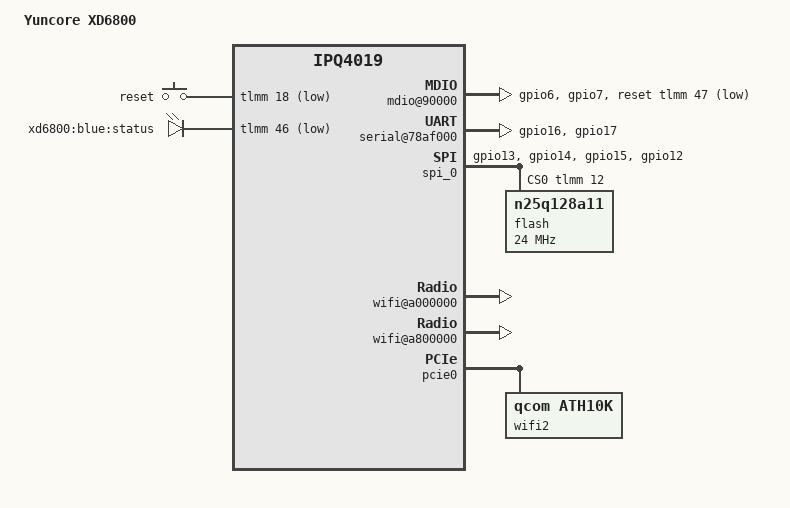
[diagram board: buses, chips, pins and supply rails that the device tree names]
#include "qcom-ipq4019.dtsi"
#include <dt-bindings/gpio/gpio.h>
#include <dt-bindings/input/input.h>

/ {
	model = "Yuncore XD6800";
	compatible = "yuncore,xd6800", "qcom,ipq4019";

	soc {
		mdio@90000 {
			pinctrl-0 = <&mdio_pins>;
			pinctrl-names = "default";
			reset-gpios = <&tlmm 47 GPIO_ACTIVE_LOW>;
			status = "okay";
		};

		ess-psgmii@98000 {
			status = "okay";
		};

		pinctrl@1000000 {
			mdio_pins: mdio_pinmux {
				mux_1 {
					pins = "gpio6";
					function = "mdio";
					bias-pull-up;
				};

				mux_2 {
					pins = "gpio7";
					function = "mdc";
					bias-pull-up;
				};
			};

			serial_0_pins: serial_pinmux {
				mux {
					pins = "gpio16", "gpio17";
					function = "blsp_uart0";
					bias-disable;
				};
			};

			spi_0_pins: spi_0_pinmux {
				pinmux {
					pins = "gpio13", "gpio14", "gpio15";
					function = "blsp_spi0";
					drive-strength = <12>;
					bias-disable;
				};

				pinmux_cs {
					pins = "gpio12";
					function = "gpio";
					drive-strength = <2>;
					bias-disable;
					output-high;
				};
			};
		};

		blsp_dma: dma@7884000 {
			status = "okay";
		};

		serial@78af000 {
			pinctrl-0 = <&serial_0_pins>;
			pinctrl-names = "default";
			status = "okay";
		};

		spi_0: spi@78b5000 {
			pinctrl-0 = <&spi_0_pins>;
			pinctrl-names = "default";
			status = "okay";
			cs-gpios = <&tlmm 12 GPIO_ACTIVE_HIGH>;

			flash@0 {
				#address-cells = <1>;
				#size-cells = <1>;
				reg = <0>;
				/*
				 * "n25q128a11" is required by the bootloader
				 * so it will be able to found this node and
				 * add a flash partitions list.
				 */
				compatible = "n25q128a11", "jedec,spi-nor";
				spi-max-frequency = <24000000>;
			};
		};

		wifi@a000000 {
			status = "okay";
		};

		wifi@a800000 {
			status = "okay";
		};

		ess-switch@c000000 {
			status = "okay";
		};

		edma@c080000 {
			status = "okay";
		};

		pcie0: pci@40000000 {
			perst-gpios = <&tlmm 38 GPIO_ACTIVE_LOW>;
			wake-gpios = <&tlmm 40 GPIO_ACTIVE_LOW>;
			status = "okay";

			bridge@0,0 {
				reg = <0x00000000 0 0 0 0>;
				#address-cells = <3>;
				#size-cells = <2>;
				ranges;

				wifi2: wifi@1,0 {
					compatible = "qcom,ath10k";
					reg = <0x00010000 0 0 0 0>;
					status = "okay";
				};
			};
		};
	};

	keys {
		compatible = "gpio-keys";

		button@0 {
			label = "reset";
			linux,code = <KEY_RESTART>;
			gpios = <&tlmm 18 GPIO_ACTIVE_LOW>;
		};
	};

	aliases {
		led-boot = &sysled;
		led-failsafe = &sysled;
		led-running = &sysled;
		led-upgrade = &sysled;
	};

	leds {
		compatible = "gpio-leds";

		sysled: sysled {
			label = "xd6800:blue:status";
			gpios = <&tlmm 46 GPIO_ACTIVE_LOW>;
		};
	};
};
